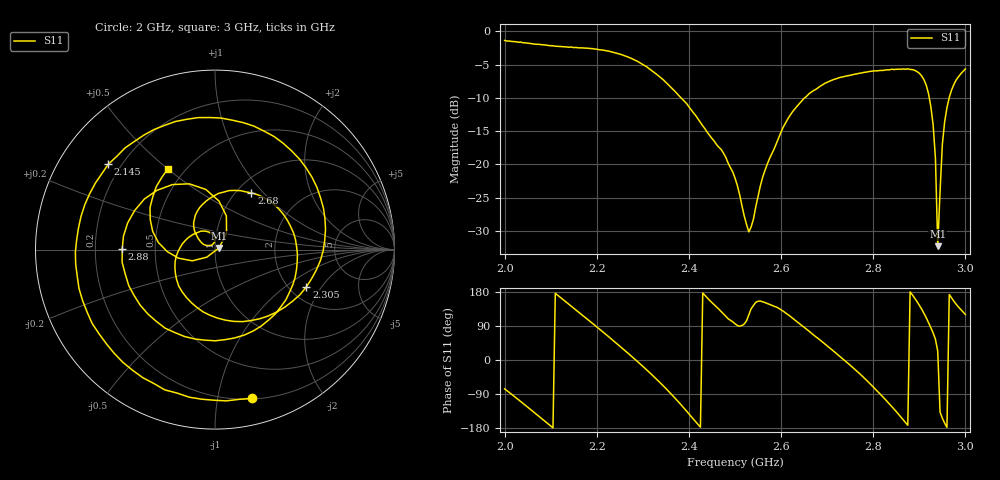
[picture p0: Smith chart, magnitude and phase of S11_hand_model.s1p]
!Agilent Technologies,E8363A,US42130174,A.06.04.32
!Agilent E8363A: A.06.04.32
!Date: Tuesday, November 28, 2023 16:31:36
!Correction: S11(Full 1 Port(1))
!S1P File: Measurement: S11:
# Hz S  RI  R 50
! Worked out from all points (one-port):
!   201 points, 2 GHz to 3 GHz, reference 50 ohm
!   lowest |S11| = -32.3 dB at 2.94 GHz (marker M1), VSWR 1.05, Z = 52.3 + j0.999 ohm
!   |S11| at or under -10 dB: 2.383 GHz to 2.651 GHz (268.4 MHz wide, 10.7 % of centre); 2.922 GHz to 2.965 GHz (43.19 MHz wide, 1.47 % of centre)
!   S11 on the Smith chart (normalised r, x): 2 GHz: 0.21, -1.26; 2.145 GHz: 0.15, +0.34; 2.305 GHz: 2.45, -1.46; 2.68 GHz: 1.17, +0.86; 2.88 GHz: 0.32, +0.00; 3 GHz: 0.41, +0.50
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2e9  0.2047 -0.8287
2.035e9  -0.28 -0.7814
2.075e9  -0.6848 -0.4108
2.125e9  -0.7254 0.2499
2.145e9  -0.5949 0.4751
2.2e9  0.0332 0.7331
2.25e9  0.5411 0.402
2.305e9  0.5091 -0.2078
2.34e9  0.2019 -0.3951
2.375e9  -0.1009 -0.3223
2.44e9  -0.1665 0.0495
2.5e9  -0.00793 0.0784
2.53e9  -0.0153 0.027
2.565e9  -0.0791 0.0427
2.625e9  -0.0859 0.2338
2.68e9  0.2031 0.3164
2.75e9  0.4541 -0.1115
2.815e9  0.00137 -0.508
2.875e9  -0.5174 -0.0711
2.88e9  -0.517 0.00227
2.91e9  -0.2373 0.3623
2.925e9  0.0219 0.2711
2.935e9  0.0645 0.0902
2.94e9  0.0223 0.00955
2.95e9  -0.1264 -0.0625
2.955e9  -0.2035 -0.0478
2.975e9  -0.3609 0.1679
3e9  -0.2615 0.4512
